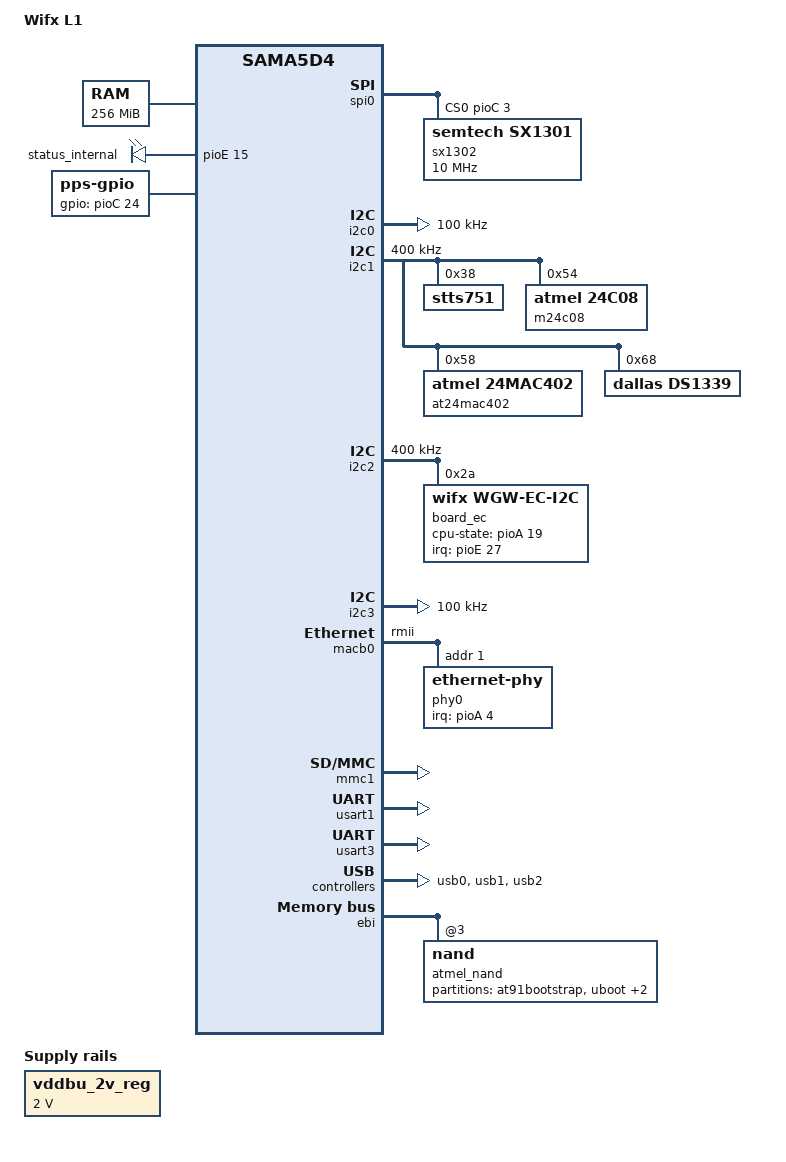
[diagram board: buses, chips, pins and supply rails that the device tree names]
/*
 * l1.dts
 *  Device Tree file for the Wifx L1 LoRa gateway from Wifx Sàrl
 *
 *  Copyright (C) 2021 Wifx,
 *                2021 Yannick Lanz <yannick.lanz@wifx.net>
 *
 * This file is dual-licensed: you can use it either under the terms
 * of the GPL or the X11 license, at your option. Note that this dual
 * licensing only applies to this file, and not this project as a
 * whole.
 *
 *  a) This file is free software; you can redistribute it and/or
 *     modify it under the terms of the GNU General Public License as
 *     published by the Free Software Foundation; either version 2 of the
 *     License, or (at your option) any later version.
 *
 *     This file is distributed in the hope that it will be useful,
 *     but WITHOUT ANY WARRANTY; without even the implied warranty of
 *     MERCHANTABILITY or FITNESS FOR A PARTICULAR PURPOSE.  See the
 *     GNU General Public License for more details.
 *
 * Or, alternatively,
 *
 *  b) Permission is hereby granted, free of charge, to any person
 *     obtaining a copy of this software and associated documentation
 *     files (the "Software"), to deal in the Software without
 *     restriction, including without limitation the rights to use,
 *     copy, modify, merge, publish, distribute, sublicense, and/or
 *     sell copies of the Software, and to permit persons to whom the
 *     Software is furnished to do so, subject to the following
 *     conditions:
 *
 *     The above copyright notice and this permission notice shall be
 *     included in all copies or substantial portions of the Software.
 *
 *     THE SOFTWARE IS PROVIDED "AS IS", WITHOUT WARRANTY OF ANY KIND,
 *     EXPRESS OR IMPLIED, INCLUDING BUT NOT LIMITED TO THE WARRANTIES
 *     OF MERCHANTABILITY, FITNESS FOR A PARTICULAR PURPOSE AND
 *     NONINFRINGEMENT. IN NO EVENT SHALL THE AUTHORS OR COPYRIGHT
 *     HOLDERS BE LIABLE FOR ANY CLAIM, DAMAGES OR OTHER LIABILITY,
 *     WHETHER IN AN ACTION OF CONTRACT, TORT OR OTHERWISE, ARISING
 *     FROM, OUT OF OR IN CONNECTION WITH THE SOFTWARE OR THE USE OR
 *     OTHER DEALINGS IN THE SOFTWARE.
 */
/dts-v1/;
#include "sama5d4.dtsi"

/ {
	model = "Wifx L1";
	compatible = "wifx,l1", "atmel,sama5d4", "atmel,sama5";

	chosen {
		stdout-path = "serial0:115200n8";
	};

	aliases {
		rtc0 = &ds1339;
		rtc1 = &rtc_internal;
		serial1 = &usart1;
	};

	memory {
		reg = <0x20000000 0x10000000>;
	};

	clocks {
		slow_xtal {
			clock-frequency = <32768>;
		};

		main_xtal {
			clock-frequency = <12000000>;
		};
	};

	ahb {
		apb {
			spi0: spi@f8010000 {
				status = "okay";
				cs-gpios = <&pioC 3 0>;

				sx1302@0 {
					compatible = "semtech,sx1301";
					spi-max-frequency = <10000000>;
					reg = <0>;
				};
			};

			i2c0: i2c@f8014000 {
				status = "okay";
				clock-frequency = <100000>;
				i2c-digital-filter = "true";
				i2c-analog-filter = "true";
			};

			i2c1: i2c@f8018000 {
				status = "okay";
				clock-frequency = <400000>;
				i2c-digital-filter = "true";
				i2c-analog-filter = "true";

				stts751: temp_sensor@38 {
					compatible = "stts751";
					reg = <0x38>;
					status = "okay";
				};

				m24c08: eeprom@54 {
					compatible = "atmel,24c08";
					reg = <0x54>;
					pagesize = <16>;
					status = "okay";
				};

				at24mac402: mac_eeprom@58 {
					compatible = "atmel,24mac402";
					reg = <0x58>;
					status = "okay";
				};

				ds1339: rtc@68 {
					compatible = "dallas,ds1339";
					trickle-resistor-ohms = <250>;
					reg = <0x68>;
					status = "okay";
				};
			};

			i2c2: i2c@f8024000 {
				status = "okay";
				clock-frequency = <400000>;
				i2c-digital-filter = "true";
				i2c-analog-filter = "true";

				board_ec@2a {
					compatible = "wifx,wgw-ec-i2c";
					reg = <0x2a>;
					status = "okay";

					interrupt-parent = <&pioE>;
					interrupts = <27 IRQ_TYPE_EDGE_RISING>;
					pinctrl-names = "default";
					pinctrl-0 = <&pinctrl_mcu_irq &pinctrl_mcu_cpu_state>;

					cpu-state-gpios = <&pioA 19 0>;

					usb_typec:usbc {
						compatible = "wifx,wgw-ec-usbc";
						#trigger-source-cells = <0>;
						status = "okay";
					};

					leds {
						compatible = "wifx,wgw-ec-leds";
						#address-cells = <1>;
						#size-cells = <0>;
						status = "okay";

						statusled {
							reg = <0>;
							label = "status";
							max-brightness = <255>;
							linux,default-trigger = "heartbeat";
						};

						serviceled {
							reg = <1>;
							label = "service";
							max-brightness = <255>;
							linux,default-trigger = "wgw-usbc-data-mode";
							trigger-sources = <&usb_typec>;
						};
					};
				};
			};

			i2c3: i2c@fc038000 {
				status = "okay";
				/* limited to 100KHz to support wake-up without bus mangling */
				clock-frequency = <100000>;
				atmel,fifo-size = <16>;
				i2c-digital-filter = "true";
				i2c-analog-filter = "true";
			};

			macb0: ethernet@f8020000 {
				phy-mode = "rmii";
				status = "okay";
				pinctrl-names = "default";
				pinctrl-0 = <&pinctrl_macb0_rmii &pinctrl_macb0_phy_irq>;

				phy0: ethernet-phy@1 {
					interrupt-parent = <&pioA>;
					interrupts = <4 IRQ_TYPE_LEVEL_LOW>;
					reg = <1>;
				};
			};

			mmc1: mmc@fc000000 {
				pinctrl-names = "default";
				pinctrl-0 = <&pinctrl_mmc1_clk_cmd_dat0 &pinctrl_mmc1_dat1_3 &pinctrl_mmc1_cd>;
				status = "okay";
				slot@0 {
					reg = <0>;
					bus-width = <4>;
					cd-gpios = <&pioE 3 0>;
				};
			};

			usart1: serial@f8030000 {
				atmel,use-dma-rx;
				atmel,use-dma-tx;
				pinctrl-0 = <&pinctrl_usart1>;
				status = "okay";
			};

			usart3: serial@fc00c000 {
				atmel,use-dma-rx;
				atmel,use-dma-tx;
				status = "okay";
			};

			tcb0: timer@f801c000 {
				timer0: timer@0 {
					compatible = "atmel,tcb-timer";
					reg = <0>;
				};

				timer1: timer@1 {
					compatible = "atmel,tcb-timer";
					reg = <1>;
				};
			};

			/* disable unused TCB */
			tcb1: timer@fc020000 {
				status = "disabled";
			};
			tcb2: timer@fc024000 {
				status = "disabled";
			};

			watchdog@fc068640 {
				status = "okay";
			};

			rtc_internal:rtc@fc0686b0 {
				status = "okay";
			};

			pinctrl@fc06a000 {
				board {
					pinctrl_mmc1_cd: mmc1_cd {
						atmel,pins = <AT91_PIOE 3 AT91_PERIPH_GPIO AT91_PINCTRL_PULL_UP_DEGLITCH>;
					};
					pinctrl_usb_vbus: usb_vbus {
						atmel,pins = <AT91_PIOE 31 AT91_PERIPH_GPIO AT91_PINCTRL_PULL_UP_DEGLITCH>;
					};
					pinctrl_usb_id: usb_id {
						atmel,pins = <AT91_PIOD 11 AT91_PERIPH_GPIO AT91_PINCTRL_PULL_UP_DEGLITCH>;
					};
					pinctrl_mcu_irq: mcu_irq_0 {
						atmel,pins = <AT91_PIOE 27 AT91_PERIPH_GPIO AT91_PINCTRL_PULL_UP_DEGLITCH>;
					};
					pinctrl_mcu_cpu_state: mcu_cpu_state {
						atmel,pins = <AT91_PIOA 19 AT91_PERIPH_GPIO (AT91_PINCTRL_OUTPUT | AT91_PINCTRL_OUTPUT_VAL(1))>;
					};
					pinctrl_macb0_phy_irq: macb0_phy_irq_0 {
						atmel,pins = <AT91_PIOA 4 AT91_PERIPH_GPIO AT91_PINCTRL_PULL_UP_DEGLITCH>;
					};
					pinctrl_sx130x_rst: sx130x_rst {
						atmel,pins = <AT91_PIOA 1 AT91_PERIPH_GPIO AT91_PINCTRL_PULL_UP_DEGLITCH>;
					};
					pinctrl_rf_front_pwr_en: rf_front_pwr_en {
						atmel,pins = <AT91_PIOA 1 AT91_PERIPH_GPIO AT91_PINCTRL_PULL_UP_DEGLITCH>;
					};

					pinctrl_ext_rst: ext_rst {
						atmel,pins = <AT91_PIOA 17 AT91_PERIPH_GPIO AT91_PINCTRL_PULL_UP_DEGLITCH>;
					};
					pinctrl_ext_pwr_en: ext_pwr_en {
						atmel,pins = <AT91_PIOD 18 AT91_PERIPH_GPIO AT91_PINCTRL_PULL_DOWN>;
					};
					pinctrl_ext_boot_n: ext_boot_n {
						atmel,pins = <AT91_PIOD 19 AT91_PERIPH_GPIO AT91_PINCTRL_PULL_UP_DEGLITCH>;
					};
					pinctrl_ext_wake: ext_wake {
						atmel,pins = <AT91_PIOA 5 AT91_PERIPH_GPIO AT91_PINCTRL_PULL_UP_DEGLITCH>;
					};
					pinctrl_gnss_pps: gnss_pps {
						atmel,pins = <AT91_PIOC 24 AT91_PERIPH_GPIO AT91_PINCTRL_DEGLITCH>;
					};
				};
			};
		};

		usb0: gadget@400000 {
			atmel,vbus-gpio = <&pioE 31 GPIO_ACTIVE_HIGH>;
			atmel,id-gpio = <&pioD 11 GPIO_ACTIVE_HIGH>;
			pinctrl-names = "default";
			pinctrl-0 = <&pinctrl_usb_vbus>;
			status = "okay";
		};

		usb1: ohci@500000 {
			num-ports = <3>;
			atmel,vbus-gpio = <
				0
				0
				0
			>;
			atmel,id-gpio = <
				&pioD 11 GPIO_ACTIVE_HIGH
				0
				0
			>;
			pinctrl-names = "default";
			pinctrl-0 = <&pinctrl_usb_id>;
			status = "okay";
		};

		usb2: ehci@600000 {
			status = "okay";
		};

		ebi: ebi@10000000 {
			pinctrl-0 = <&pinctrl_ebi_cs3 &pinctrl_ebi_nrd_nandoe
					&pinctrl_ebi_nwe_nandwe &pinctrl_ebi_nandrdy
					&pinctrl_ebi_data_0_7 &pinctrl_ebi_nand_addr>;
			pinctrl-names = "default";
			status = "okay";

			nand_controller: nand-controller {
				status = "okay";
				atmel,pmecc-cap = <4>;
				atmel,pmecc-sector-size = <512>;

				nand@3 {
					reg = <0x3 0x0 0x2>;
					atmel,rb = <0>;
					nand-bus-width = <8>;
					nand-ecc-mode = "hw";
					nand-on-flash-bbt;
					label = "atmel_nand";

					partitions {
						compatible = "fixed-partitions";
						#address-cells = <1>;
						#size-cells = <1>;

						at91bootstrap@0 {
							label = "at91bootstrap";
							reg = <0x0 0x40000>;
						};

						uboot@40000 {
							label = "uboot";
							reg = <0x40000 0xC0000>;
						};

						uboot-env@100000 {
							label = "uboot-env";
							reg = <0x100000 0x80000>;
						};

						ubi@180000 {
							label = "ubi";
							reg = <0x180000 0x3FE00000>;
						};
					};
				};
			};
		};
	};

	leds {
		compatible = "gpio-leds";
		status = "okay";

		status_internal {
			gpios = <&pioE 15 GPIO_ACTIVE_HIGH>;
			linux,default-trigger = "heartbeat";
		};
	};

	vddbu_2v_reg: fixedregulator@0 {
		compatible = "regulator-fixed";
		regulator-name = "VDDBU 2V";
		regulator-min-microvolt = <2000000>;
		regulator-max-microvolt = <2000000>;
		regulator-boot-on;
		regulator-always-on;
	};

	pps {
		pinctrl-names = "default";
		pinctrl-0 = <&pinctrl_gnss_pps>;

		gpios = <&pioC 24 GPIO_ACTIVE_HIGH>;
		/* assert-falling-edge; */

		compatible = "pps-gpio";
	};
};
